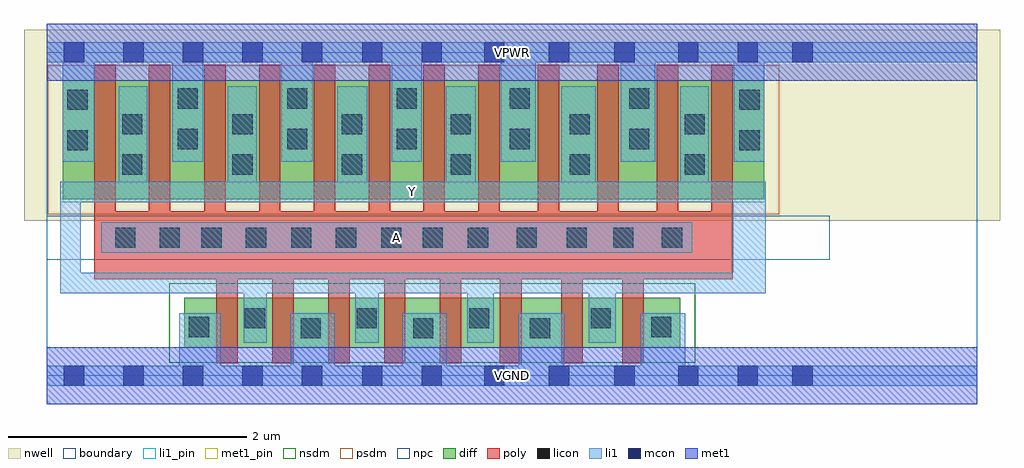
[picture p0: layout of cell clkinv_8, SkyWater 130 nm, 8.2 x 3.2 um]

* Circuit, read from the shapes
.subckt clkinv_8 A VGND VPWR Y
XM1 Y A VGND VSUBS sky130_fd_pr__nfet_01v8 w=0.42 l=0.18 m=7
XM2 VGND A Y VSUBS sky130_fd_pr__nfet_01v8 w=0.42 l=0.185
XM3 Y A VPWR n1 sky130_fd_pr__pfet_01v8 w=1 l=0.18 m=12
.ends

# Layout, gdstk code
import gdstk
lib = gdstk.Library(unit=1e-6, precision=1e-09)
def R(c, l, rs):  # rectangles x0, y0, x1, y1
    for r in rs: c.add(gdstk.rectangle(r[:2], r[2:], *l))
def A(c, l, x, y, w, h, nx, ny, dx, dy):  # array of equal rectangles
    R(c, l, [(x+i*dx, y+j*dy, x+i*dx+w, y+j*dy+h) for i in range(nx) for j in range(ny)])
nwell = (64, 20)
diff = (65, 20)
poly = (66, 20)
licon = (66, 44)
li1_pin = (67, 16)
li1 = (67, 20)
mcon = (67, 44)
met1_pin = (68, 16)
met1 = (68, 20)
nsdm = (93, 44)
psdm = (94, 20)
npc = (95, 20)
boundary = (235, 4)

clkinv_8 = lib.new_cell('clkinv_8')
R(clkinv_8, nwell, [(-0.19,1.305,8.01,2.91), (0,1.305,7.82,2.91)])
R(clkinv_8, diff, [(1.155,0.235,5.325,0.655), (0.135,1.485,6.03,2.485)])
A(clkinv_8, poly, 1.425, 0.105, 0.18, 1.28, 5, 1, 0.47, 0)
A(clkinv_8, poly, 1.325, 0.81, 0.18, 1.805, 6, 1, 0.46, 0)
A(clkinv_8, poly, 4.125, 0.81, 0.18, 1.805, 3, 1, 0.5, 0)
R(clkinv_8, poly, [(3.805,0.105,3.99,1.385), (4.325,0.105,4.505,1.385), (4.835,0.105,5.015,1.385), (0.4,0.81,5.765,1.385), (0.4,0.81,0.58,2.615), (0.86,0.81,1.04,2.615), (5.585,0.81,5.765,2.615)])
A(clkinv_8, licon, 1.1, 1.905, 0.17, 0.17, 3, 2, 0.92, 0.34)
R(clkinv_8, licon, [(2.135,0.315,2.305,0.485), (3.08,0.315,3.25,0.485), (4.06,0.315,4.23,0.485), (1.195,0.325,1.365,0.495), (5.08,0.325,5.25,0.495), (1.665,0.4,1.835,0.57), (2.605,0.4,2.775,0.57), (3.55,0.4,3.72,0.57), (4.57,0.4,4.74,0.57), (0.575,1.075,0.745,1.245), (0.95,1.075,1.12,1.245), (1.3,1.075,1.47,1.245), (1.675,1.075,1.845,1.245), (2.055,1.075,2.225,1.245), (2.43,1.075,2.6,1.245), (2.81,1.075,2.98,1.245), (3.16,1.075,3.33,1.245), (3.54,1.075,3.71,1.245), (3.95,1.075,4.12,1.245), (4.37,1.075,4.54,1.245), (4.76,1.075,4.93,1.245), (5.17,1.075,5.34,1.245), (0.635,1.69,0.805,1.86), (1.56,1.69,1.73,1.86), (2.48,1.69,2.65,1.86), (3.395,1.69,3.565,1.86), (4.395,1.69,4.565,1.86), (5.36,1.69,5.53,1.86), (0.175,1.895,0.345,2.065), (5.82,1.895,5.99,2.065), (3.89,1.905,4.06,2.075), (4.895,1.905,5.065,2.075), (0.635,2.03,0.805,2.2), (1.56,2.03,1.73,2.2), (2.48,2.03,2.65,2.2), (3.395,2.03,3.565,2.2), (4.395,2.03,4.565,2.2), (5.36,2.03,5.53,2.2), (0.175,2.235,0.345,2.405), (5.82,2.235,5.99,2.405), (3.89,2.245,4.06,2.415), (4.895,2.245,5.065,2.415)])
R(clkinv_8, li1_pin, [(0.46,1.035,5.425,1.29), (0.115,1.46,6.04,1.63)])
R(clkinv_8, li1, [(0,-0.085,7.82,0.085), (1.115,-0.085,1.465,0.525), (2.05,-0.085,2.42,0.525), (2.99,-0.085,3.36,0.525), (3.965,-0.085,4.35,0.525), (4.99,-0.085,5.365,0.525), (1.655,0.28,1.85,0.865), (2.595,0.28,2.79,0.865), (3.535,0.28,3.755,0.865), (4.555,0.28,4.78,0.865), (0.115,0.695,6.04,0.865), (0.115,0.695,0.285,1.63), (5.765,0.695,6.04,1.63), (0.46,1.035,5.425,1.29), (0.115,1.46,6.04,1.63), (0.605,1.46,0.845,2.435), (1.52,1.46,1.765,2.435), (2.44,1.46,2.695,2.435), (3.355,1.46,3.605,2.435), (4.325,1.46,4.615,2.435), (5.325,1.46,5.565,2.435), (0.135,1.8,0.4,2.805), (1.055,1.8,1.315,2.805), (1.97,1.8,2.235,2.805), (2.9,1.8,3.15,2.805), (3.815,1.8,4.11,2.805), (4.825,1.8,5.115,2.805), (5.775,1.8,6.03,2.805), (0,2.635,7.82,2.805)])
A(clkinv_8, mcon, 0.145, -0.085, 0.17, 0.17, 5, 2, 0.5, 2.72)
R(clkinv_8, mcon, [(2.65,-0.085,2.82,0.085), (3.15,-0.085,3.32,0.085), (3.675,-0.085,3.845,0.085), (4.22,-0.085,4.39,0.085), (4.77,-0.085,4.94,0.085), (5.305,-0.085,5.475,0.085), (5.805,-0.085,5.975,0.085), (6.265,-0.085,6.435,0.085), (2.65,2.635,2.82,2.805), (3.15,2.635,3.32,2.805), (3.675,2.635,3.845,2.805), (4.22,2.635,4.39,2.805), (4.77,2.635,4.94,2.805), (5.305,2.635,5.475,2.805), (5.805,2.635,5.975,2.805), (6.265,2.635,6.435,2.805)])
R(clkinv_8, met1_pin, [(0,-0.24,7.82,0.24), (0,2.48,7.82,2.96)])
R(clkinv_8, met1, [(0,-0.24,7.82,0.24), (0,2.48,7.82,2.96)])
R(clkinv_8, nsdm, [(1.03,0.11,5.45,0.78)])
R(clkinv_8, psdm, [(0.01,1.36,6.155,2.61)])
R(clkinv_8, npc, [(0,0.975,6.58,1.345)])
R(clkinv_8, boundary, [(0,0,7.82,2.72)])
clkinv_8.add(gdstk.Label('A', (2.942,1.162), layer=67, texttype=5))
clkinv_8.add(gdstk.Label('Y', (3.077,1.545), layer=67, texttype=5))
clkinv_8.add(gdstk.Label('VPWR', (3.91,2.72), layer=68, texttype=5))
clkinv_8.add(gdstk.Label('VGND', (3.91,0), layer=68, texttype=5))
clkinv_8.add(gdstk.Label('A', (2.942,1.162), layer=67, texttype=16))
clkinv_8.add(gdstk.Label('Y', (3.077,1.545), layer=67, texttype=16))
clkinv_8.add(gdstk.Label('VPWR', (3.91,2.72), layer=68, texttype=16))
clkinv_8.add(gdstk.Label('VGND', (3.91,0), layer=68, texttype=16))

lib.write_gds('clkinv_8.gds')
